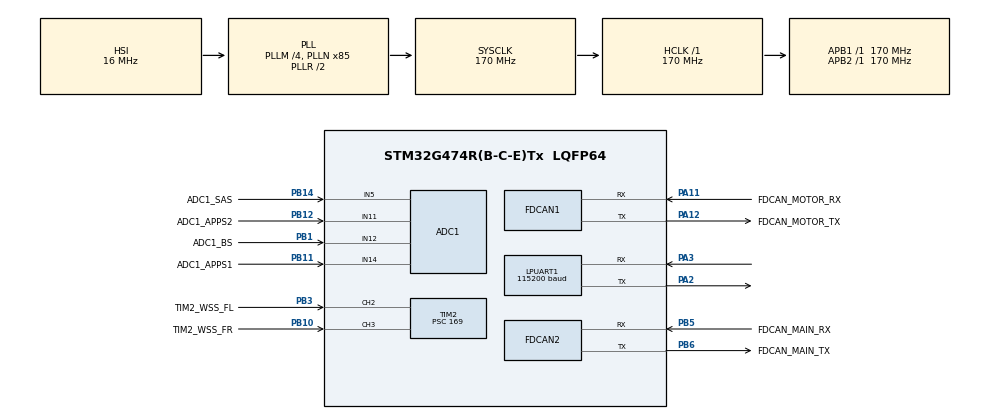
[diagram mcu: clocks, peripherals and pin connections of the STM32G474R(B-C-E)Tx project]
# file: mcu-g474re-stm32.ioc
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ADC1.Channel-0\#ChannelRegularConversion=ADC_CHANNEL_14
ADC1.Channel-1\#ChannelRegularConversion=ADC_CHANNEL_11
ADC1.Channel-2\#ChannelRegularConversion=ADC_CHANNEL_5
ADC1.Channel-3\#ChannelRegularConversion=ADC_CHANNEL_12
ADC1.ContinuousConvMode=ENABLE
ADC1.DMAContinuousRequests=ENABLE
ADC1.NbrOfConversion=4
ADC1.NbrOfConversionFlag=1
ADC1.OffsetNumber-0\#ChannelRegularConversion=ADC_OFFSET_NONE
ADC1.OffsetNumber-1\#ChannelRegularConversion=ADC_OFFSET_NONE
ADC1.OffsetNumber-2\#ChannelRegularConversion=ADC_OFFSET_NONE
ADC1.OffsetNumber-3\#ChannelRegularConversion=ADC_OFFSET_NONE
ADC1.Overrun=ADC_OVR_DATA_OVERWRITTEN
ADC1.Rank-0\#ChannelRegularConversion=1
ADC1.Rank-1\#ChannelRegularConversion=2
ADC1.Rank-2\#ChannelRegularConversion=3
ADC1.Rank-3\#ChannelRegularConversion=4
ADC1.SamplingTime-0\#ChannelRegularConversion=ADC_SAMPLETIME_640CYCLES_5
ADC1.SamplingTime-1\#ChannelRegularConversion=ADC_SAMPLETIME_640CYCLES_5
ADC1.SamplingTime-2\#ChannelRegularConversion=ADC_SAMPLETIME_640CYCLES_5
ADC1.SamplingTime-3\#ChannelRegularConversion=ADC_SAMPLETIME_640CYCLES_5
ADC1.master=1
Dma.ADC1.0.Direction=DMA_PERIPH_TO_MEMORY
Dma.ADC1.0.EventEnable=DISABLE
Dma.ADC1.0.Instance=DMA1_Channel1
Dma.ADC1.0.MemDataAlignment=DMA_MDATAALIGN_HALFWORD
Dma.ADC1.0.MemInc=DMA_MINC_ENABLE
Dma.ADC1.0.Mode=DMA_CIRCULAR
Dma.ADC1.0.PeriphDataAlignment=DMA_PDATAALIGN_HALFWORD
Dma.ADC1.0.PeriphInc=DMA_PINC_DISABLE
Dma.ADC1.0.Polarity=HAL_DMAMUX_REQ_GEN_RISING
Dma.ADC1.0.Priority=DMA_PRIORITY_HIGH
Dma.ADC1.0.RequestNumber=1
Dma.ADC1.0.SignalID=NONE
Dma.ADC1.0.SyncEnable=DISABLE
Dma.ADC1.0.SyncPolarity=HAL_DMAMUX_SYNC_NO_EVENT
Dma.ADC1.0.SyncRequestNumber=1
Dma.ADC1.0.SyncSignalID=NONE
Dma.LPUART1_TX.1.Direction=DMA_MEMORY_TO_PERIPH
Dma.LPUART1_TX.1.EventEnable=DISABLE
Dma.LPUART1_TX.1.Instance=DMA1_Channel2
Dma.LPUART1_TX.1.MemDataAlignment=DMA_MDATAALIGN_BYTE
Dma.LPUART1_TX.1.MemInc=DMA_MINC_ENABLE
Dma.LPUART1_TX.1.Mode=DMA_NORMAL
Dma.LPUART1_TX.1.PeriphDataAlignment=DMA_PDATAALIGN_BYTE
Dma.LPUART1_TX.1.PeriphInc=DMA_PINC_DISABLE
Dma.LPUART1_TX.1.Polarity=HAL_DMAMUX_REQ_GEN_RISING
Dma.LPUART1_TX.1.Priority=DMA_PRIORITY_LOW
Dma.LPUART1_TX.1.RequestNumber=1
Dma.LPUART1_TX.1.SignalID=NONE
Dma.LPUART1_TX.1.SyncEnable=DISABLE
Dma.LPUART1_TX.1.SyncPolarity=HAL_DMAMUX_SYNC_NO_EVENT
Dma.LPUART1_TX.1.SyncRequestNumber=1
Dma.LPUART1_TX.1.SyncSignalID=NONE
Dma.Request0=ADC1
Dma.Request1=LPUART1_TX
Dma.Request2=TIM2_CH2
Dma.Request3=TIM2_CH3
Dma.TIM2_CH2.2.Direction=DMA_PERIPH_TO_MEMORY
Dma.TIM2_CH2.2.EventEnable=DISABLE
Dma.TIM2_CH2.2.Instance=DMA1_Channel3
Dma.TIM2_CH2.2.MemDataAlignment=DMA_MDATAALIGN_WORD
Dma.TIM2_CH2.2.MemInc=DMA_MINC_ENABLE
Dma.TIM2_CH2.2.Mode=DMA_CIRCULAR
Dma.TIM2_CH2.2.PeriphDataAlignment=DMA_PDATAALIGN_WORD
Dma.TIM2_CH2.2.PeriphInc=DMA_PINC_DISABLE
Dma.TIM2_CH2.2.Polarity=HAL_DMAMUX_REQ_GEN_RISING
Dma.TIM2_CH2.2.Priority=DMA_PRIORITY_MEDIUM
Dma.TIM2_CH2.2.RequestNumber=1
Dma.TIM2_CH2.2.SignalID=NONE
Dma.TIM2_CH2.2.SyncEnable=DISABLE
Dma.TIM2_CH2.2.SyncPolarity=HAL_DMAMUX_SYNC_NO_EVENT
Dma.TIM2_CH2.2.SyncRequestNumber=1
Dma.TIM2_CH2.2.SyncSignalID=NONE
Dma.TIM2_CH3.3.Direction=DMA_PERIPH_TO_MEMORY
Dma.TIM2_CH3.3.EventEnable=DISABLE
Dma.TIM2_CH3.3.Instance=DMA1_Channel4
Dma.TIM2_CH3.3.MemDataAlignment=DMA_MDATAALIGN_WORD
Dma.TIM2_CH3.3.MemInc=DMA_MINC_ENABLE
Dma.TIM2_CH3.3.Mode=DMA_CIRCULAR
Dma.TIM2_CH3.3.PeriphDataAlignment=DMA_PDATAALIGN_WORD
Dma.TIM2_CH3.3.PeriphInc=DMA_PINC_DISABLE
Dma.TIM2_CH3.3.Polarity=HAL_DMAMUX_REQ_GEN_RISING
Dma.TIM2_CH3.3.Priority=DMA_PRIORITY_MEDIUM
Dma.TIM2_CH3.3.RequestNumber=1
Dma.TIM2_CH3.3.SignalID=NONE
Dma.TIM2_CH3.3.SyncEnable=DISABLE
Dma.TIM2_CH3.3.SyncPolarity=HAL_DMAMUX_SYNC_NO_EVENT
Dma.TIM2_CH3.3.SyncRequestNumber=1
Dma.TIM2_CH3.3.SyncSignalID=NONE
FDCAN1.AutoRetransmission=ENABLE
FDCAN1.CalculateBaudRateNominal=500000
FDCAN1.CalculateTimeBitNominal=2000
FDCAN1.CalculateTimeQuantumNominal=100.0
FDCAN1.FrameFormat=FDCAN_FRAME_CLASSIC
FDCAN1.Mode=FDCAN_MODE_NORMAL
FDCAN1.NominalPrescaler=17
FDCAN1.NominalTimeSeg1=15
FDCAN1.NominalTimeSeg2=4
FDCAN1.StdFiltersNbr=1
FDCAN2.AutoRetransmission=ENABLE
FDCAN2.CalculateBaudRateNominal=500000
FDCAN2.CalculateTimeBitNominal=2000
FDCAN2.CalculateTimeQuantumNominal=100.0
FDCAN2.NominalPrescaler=17
FDCAN2.NominalTimeSeg1=15
FDCAN2.NominalTimeSeg2=4
FDCAN2.StdFiltersNbr=1
FREERTOS.INCLUDE_uxTaskGetStackHighWaterMark2=1
FREERTOS.Mutexes01=mutex_VehicleData,Dynamic,NULL,Available;mutex_LPUART1,Dynamic,NULL,Available;mutex_FDCAN1_MOTOR,Dynamic,NULL,Available;mutex_FDCAN2_MAIN,Dynamic,NULL,Available
FREERTOS.Tasks01=DataLogger,8,512,StartDataLogger,Default,NULL,Dynamic,NULL,NULL;DataManager,40,512,StartDataManager,Default,NULL,Dynamic,NULL,NULL;DriveLogic,40,1024,StartDriveLogic,Default,NULL,Dynamic,NULL,NULL
FREERTOS.configCHECK_FOR_STACK_OVERFLOW=2
FREERTOS.configENABLE_FPU=1
FREERTOS.configTIMER_TASK_PRIORITY=6
FREERTOS.configTOTAL_HEAP_SIZE=50000
FREERTOS.configUSE_MALLOC_FAILED_HOOK=1
FREERTOS.configUSE_NEWLIB_REENTRANT=1
IWDG.Prescaler=IWDG_PRESCALER_16
IWDG.Reload=2500
LPUART1.BaudRate=115200
Mcu.Family=STM32G4
Mcu.Name=STM32G474R(B-C-E)Tx
Mcu.Package=LQFP64
NVIC.ADC1_2_IRQn=true\:5\:0\:true\:false\:true\:true\:true\:true\:true
NVIC.DMA1_Channel1_IRQn=true\:5\:0\:true\:false\:true\:true\:false\:true\:true
NVIC.DMA1_Channel2_IRQn=true\:5\:0\:false\:false\:true\:true\:false\:true\:true
NVIC.DMA1_Channel3_IRQn=true\:5\:0\:false\:false\:true\:true\:false\:true\:true
NVIC.DMA1_Channel4_IRQn=true\:5\:0\:false\:false\:true\:true\:false\:true\:true
NVIC.FDCAN1_IT0_IRQn=true\:5\:0\:true\:false\:true\:true\:true\:true\:true
NVIC.FDCAN2_IT0_IRQn=true\:5\:0\:true\:false\:true\:true\:true\:true\:true
NVIC.LPUART1_IRQn=true\:5\:0\:false\:false\:true\:true\:true\:true\:true
NVIC.PriorityGroup=NVIC_PRIORITYGROUP_4
NVIC.TIM2_IRQn=true\:5\:0\:true\:false\:true\:true\:true\:true\:true
NVIC.TIM6_DAC_IRQn=true\:15\:0\:false\:false\:true\:false\:false\:true\:true
NVIC.TimeBase=TIM6_DAC_IRQn
NVIC.TimeBaseIP=TIM6
PA11.GPIO_Label=FDCAN_MOTOR_RX
PA11.Mode=FDCAN_Activate
PA11.Signal=FDCAN1_RX
PA12.GPIO_Label=FDCAN_MOTOR_TX
PA12.Mode=FDCAN_Activate
PA12.Signal=FDCAN1_TX
PA13.GPIO_Label=T_SWDIO
PA13.Mode=Serial_Wire
PA13.Signal=SYS_JTMS-SWDIO
PA14.GPIO_Label=T_SWCLK
PA14.Mode=Serial_Wire
PA14.Signal=SYS_JTCK-SWCLK
PA2.Mode=Asynchronous
PA2.Signal=LPUART1_TX
PA3.Mode=Asynchronous
PA3.Signal=LPUART1_RX
PB1.GPIO_Label=ADC1_BS
PB1.Mode=IN12-Single-Ended
PB1.Signal=ADC1_IN12
PB10.GPIO_Label=TIM2_WSS_FR
PB10.Signal=S_TIM2_CH3
PB11.GPIO_Label=ADC1_APPS1
PB11.Mode=IN14-Single-Ended
PB11.Signal=ADC1_IN14
PB12.GPIO_Label=ADC1_APPS2
PB12.Mode=IN11-Single-Ended
PB12.Signal=ADC1_IN11
PB14.GPIO_Label=ADC1_SAS
PB14.Mode=IN5-Single-Ended
PB14.Signal=ADC1_IN5
PB3.GPIO_Label=TIM2_WSS_FL
PB3.Signal=S_TIM2_CH2
PB5.GPIO_Label=FDCAN_MAIN_RX
PB5.Mode=FDCAN_Activate
PB5.Signal=FDCAN2_RX
PB6.GPIO_Label=FDCAN_MAIN_TX
PB6.Mode=FDCAN_Activate
PB6.Signal=FDCAN2_TX
ProjectManager.HeapSize=0x200
ProjectManager.StackSize=0x400
ProjectManager.TargetToolchain=STM32CubeIDE
RCC.ADC12Freq_Value=170000000
RCC.ADC345Freq_Value=170000000
RCC.AHBFreq_Value=170000000
RCC.APB1Freq_Value=170000000
RCC.APB1TimFreq_Value=170000000
RCC.APB2Freq_Value=170000000
RCC.APB2TimFreq_Value=170000000
RCC.CortexFreq_Value=170000000
RCC.EXTERNAL_CLOCK_VALUE=12288000
RCC.HCLKFreq_Value=170000000
RCC.HSE_VALUE=24000000
RCC.HSI48_VALUE=48000000
RCC.HSI_VALUE=16000000
RCC.LSE_VALUE=32768
RCC.PLLM=RCC_PLLM_DIV4
RCC.PLLN=85
RCC.RTCClockSelection=RCC_RTCCLKSOURCE_LSE
RCC.SYSCLKFreq_VALUE=170000000
RCC.SYSCLKSource=RCC_SYSCLKSOURCE_PLLCLK
RCC.USBFreq_Value=170000000
RCC.VCOOutputFreq_Value=340000000
SH.S_TIM2_CH2.0=TIM2_CH2,Input_Capture2_from_TI2
SH.S_TIM2_CH3.0=TIM2_CH3,Input_Capture3_from_TI3
TIM2.AutoReloadPreload=TIM_AUTORELOAD_PRELOAD_ENABLE
TIM2.Channel-Input_Capture2_from_TI2=TIM_CHANNEL_2
TIM2.Channel-Input_Capture3_from_TI3=TIM_CHANNEL_3
TIM2.ICFilter_CH2=8
TIM2.ICFilter_CH3=8
TIM2.Prescaler=169
VP_FREERTOS_VS_CMSIS_V2.Mode=CMSIS_V2
VP_IWDG_VS_IWDG.Mode=IWDG_Activate
VP_SYS_VS_DBSignals.Mode=DisableDeadBatterySignals
VP_SYS_VS_tim6.Mode=TIM6
VP_TIM2_VS_ClockSourceINT.Mode=Internal
board=NUCLEO-G474RE

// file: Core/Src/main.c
/* USER CODE BEGIN Header */
/**
  ******************************************************************************
  * @file           : main.c
  * @brief          : Main program body
  ******************************************************************************
  * @attention
  *
  * Copyright (c) 2026 STMicroelectronics.
  * All rights reserved.
  *
  * This software is licensed under terms that can be found in the LICENSE file
  * in the root directory of this software component.
  * If no LICENSE file comes with this software, it is provided AS-IS.
  *
  ******************************************************************************
  */
/* USER CODE END Header */
#include "main.h"
#include "cmsis_os.h"

/* USER CODE BEGIN Includes */
#include "Connectivity/Can.h"
#include "shared_data.h"
#include "Sensors/adc_manager.h"
/* USER CODE END Includes */

ADC_HandleTypeDef hadc1;
DMA_HandleTypeDef hdma_adc1;

FDCAN_HandleTypeDef hfdcan1;
FDCAN_HandleTypeDef hfdcan2;

IWDG_HandleTypeDef hiwdg;

UART_HandleTypeDef hlpuart1;
DMA_HandleTypeDef hdma_lpuart1_tx;

TIM_HandleTypeDef htim2;
DMA_HandleTypeDef hdma_tim2_ch2;
DMA_HandleTypeDef hdma_tim2_ch3;

/* Definitions for DataLogger */
osThreadId_t DataLoggerHandle;
const osThreadAttr_t DataLogger_attributes = {
  .name = "DataLogger",
  .priority = (osPriority_t) osPriorityLow,
  .stack_size = 512 * 4
};
/* Definitions for DataManager */
osThreadId_t DataManagerHandle;
const osThreadAttr_t DataManager_attributes = {
  .name = "DataManager",
  .priority = (osPriority_t) osPriorityHigh,
  .stack_size = 512 * 4
};
/* Definitions for DriveLogic */
osThreadId_t DriveLogicHandle;
const osThreadAttr_t DriveLogic_attributes = {
  .name = "DriveLogic",
  .priority = (osPriority_t) osPriorityHigh,
  .stack_size = 1024 * 4
};
/* Definitions for mutex_VehicleData */
osMutexId_t mutex_VehicleDataHandle;
const osMutexAttr_t mutex_VehicleData_attributes = {
  .name = "mutex_VehicleData"
};
/* Definitions for mutex_LPUART1 */
osMutexId_t mutex_LPUART1Handle;
const osMutexAttr_t mutex_LPUART1_attributes = {
  .name = "mutex_LPUART1"
};
/* Definitions for mutex_FDCAN1_MOTOR */
osMutexId_t mutex_FDCAN1_MOTORHandle;
const osMutexAttr_t mutex_FDCAN1_MOTOR_attributes = {
  .name = "mutex_FDCAN1_MOTOR"
};
/* Definitions for mutex_FDCAN2_MAIN */
osMutexId_t mutex_FDCAN2_MAINHandle;
const osMutexAttr_t mutex_FDCAN2_MAIN_attributes = {
  .name = "mutex_FDCAN2_MAIN"
};

void SystemClock_Config(void);
static void MX_GPIO_Init(void);
static void MX_DMA_Init(void);
static void MX_ADC1_Init(void);
static void MX_FDCAN1_Init(void);
static void MX_FDCAN2_Init(void);
static void MX_TIM2_Init(void);
static void MX_LPUART1_UART_Init(void);
static void MX_IWDG_Init(void);
void StartDataLogger(void *argument);
void StartDataManager(void *argument);
void StartDriveLogic(void *argument);

/* USER CODE BEGIN PFP */
/* Entry point di ciascun task, definiti in Core/Src/Tasks.c: nessun header
 * dedicato le dichiara, quindi il prototipo va qui (unico chiamante). */
void DataLoggerTask(void);
void DataManagerTask(void);
void DriveLogicTask(void);
/* USER CODE END PFP */

int main(void)
{

  /* MCU Configuration--------------------------------------------------------*/

  /* Reset of all peripherals, Initializes the Flash interface and the Systick. */
  HAL_Init();

  /* Configure the system clock */
  SystemClock_Config();

  /* Initialize all configured peripherals */
  MX_GPIO_Init();
  MX_DMA_Init();
  MX_ADC1_Init();
  MX_FDCAN1_Init();
  MX_FDCAN2_Init();
  MX_TIM2_Init();
  MX_LPUART1_UART_Init();
  MX_IWDG_Init();
  /* USER CODE BEGIN 2 */

  /* Stato condiviso in condizioni note prima che parta qualunque task:
   * azzera g_vehicle_data e imposta fsm_state = VEHICLE_STATE_INIT.
   * (g_vehicle_data e' in BSS quindi gia' a zero al cold boot, ma questo
   *  rende esplicito lo stato di partenza anche dopo un reset software.) */
  VehicleData_Init();

  /* --- IMU Boot Procedure (via CAN BUS) ---------------------------------
   * FDCAN2 avviato in polling (senza notifiche: la coda RX non esiste
   * ancora), poi si interroga e verifica l'IMU Aviorace. Non blocca
   * l'avvio se l'IMU non risponde: l'esito e' in g_imu_boot_status. */
  if (CAN_MAIN_Start(&hfdcan2))
  {
    (void)CAN_MAIN_ImuBoot(&hfdcan2, &hiwdg);
  }

  /* USER CODE END 2 */

  /* Init scheduler */
  osKernelInitialize();
  /* Create the mutex(es) */
  /* creation of mutex_VehicleData */
  mutex_VehicleDataHandle = osMutexNew(&mutex_VehicleData_attributes);

  /* creation of mutex_LPUART1 */
  mutex_LPUART1Handle = osMutexNew(&mutex_LPUART1_attributes);

  /* creation of mutex_FDCAN1_MOTOR */
  mutex_FDCAN1_MOTORHandle = osMutexNew(&mutex_FDCAN1_MOTOR_attributes);

  /* creation of mutex_FDCAN2_MAIN */
  mutex_FDCAN2_MAINHandle = osMutexNew(&mutex_FDCAN2_MAIN_attributes);

  /* USER CODE BEGIN RTOS_QUEUES */
  /* CAN RX queues must be created after osKernelInitialize() and before CAN IRQ notifications. */
  CAN_MOTOR_ProcessQueue_Init();      /* CAN1 RX queue */
  CAN_MAIN_ProcessQueue_Init();  /* CAN2 RX queue */

  if (!CAN_QueuesReady())
  {
    Error_Handler();
  }

  /* USER CODE END RTOS_QUEUES */

  /* Create the thread(s) */
  /* creation of DataLogger */
  DataLoggerHandle = osThreadNew(StartDataLogger, NULL, &DataLogger_attributes);

  /* creation of DataManager */
  DataManagerHandle = osThreadNew(StartDataManager, NULL, &DataManager_attributes);

  /* creation of DriveLogic */
  DriveLogicHandle = osThreadNew(StartDriveLogic, NULL, &DriveLogic_attributes);

  /* Start scheduler */
  osKernelStart();

  /* We should never get here as control is now taken by the scheduler */

  /* Infinite loop */
  while (1)
  {

  }
}

void SystemClock_Config(void)
{
  RCC_OscInitTypeDef RCC_OscInitStruct = {0};
  RCC_ClkInitTypeDef RCC_ClkInitStruct = {0};

  /** Configure the main internal regulator output voltage
  */
  HAL_PWREx_ControlVoltageScaling(PWR_REGULATOR_VOLTAGE_SCALE1_BOOST);

  /** Initializes the RCC Oscillators according to the specified parameters
  * in the RCC_OscInitTypeDef structure.
  */
  RCC_OscInitStruct.OscillatorType = RCC_OSCILLATORTYPE_HSI|RCC_OSCILLATORTYPE_LSI;
  RCC_OscInitStruct.HSIState = RCC_HSI_ON;
  RCC_OscInitStruct.HSICalibrationValue = RCC_HSICALIBRATION_DEFAULT;
  RCC_OscInitStruct.LSIState = RCC_LSI_ON;
  RCC_OscInitStruct.PLL.PLLState = RCC_PLL_ON;
  RCC_OscInitStruct.PLL.PLLSource = RCC_PLLSOURCE_HSI;
  RCC_OscInitStruct.PLL.PLLM = RCC_PLLM_DIV4;
  RCC_OscInitStruct.PLL.PLLN = 85;
  RCC_OscInitStruct.PLL.PLLP = RCC_PLLP_DIV2;
  RCC_OscInitStruct.PLL.PLLQ = RCC_PLLQ_DIV2;
  RCC_OscInitStruct.PLL.PLLR = RCC_PLLR_DIV2;
  if (HAL_RCC_OscConfig(&RCC_OscInitStruct) != HAL_OK)
  {
    Error_Handler();
  }

  /** Initializes the CPU, AHB and APB buses clocks
  */
  RCC_ClkInitStruct.ClockType = RCC_CLOCKTYPE_HCLK|RCC_CLOCKTYPE_SYSCLK
                              |RCC_CLOCKTYPE_PCLK1|RCC_CLOCKTYPE_PCLK2;
  RCC_ClkInitStruct.SYSCLKSource = RCC_SYSCLKSOURCE_PLLCLK;
  RCC_ClkInitStruct.AHBCLKDivider = RCC_SYSCLK_DIV1;
  RCC_ClkInitStruct.APB1CLKDivider = RCC_HCLK_DIV1;
  RCC_ClkInitStruct.APB2CLKDivider = RCC_HCLK_DIV1;

  if (HAL_RCC_ClockConfig(&RCC_ClkInitStruct, FLASH_LATENCY_4) != HAL_OK)
  {
    Error_Handler();
  }
}

static void MX_ADC1_Init(void)
{

  ADC_MultiModeTypeDef multimode = {0};
  ADC_ChannelConfTypeDef sConfig = {0};

  /** Common config
  */
  hadc1.Instance = ADC1;
  hadc1.Init.ClockPrescaler = ADC_CLOCK_SYNC_PCLK_DIV4;
  hadc1.Init.Resolution = ADC_RESOLUTION_12B;
  hadc1.Init.DataAlign = ADC_DATAALIGN_RIGHT;
  hadc1.Init.GainCompensation = 0;
  hadc1.Init.ScanConvMode = ADC_SCAN_ENABLE;
  hadc1.Init.EOCSelection = ADC_EOC_SINGLE_CONV;
  hadc1.Init.LowPowerAutoWait = DISABLE;
  hadc1.Init.ContinuousConvMode = ENABLE;
  hadc1.Init.NbrOfConversion = 4;
  hadc1.Init.DiscontinuousConvMode = DISABLE;
  hadc1.Init.ExternalTrigConv = ADC_SOFTWARE_START;
  hadc1.Init.ExternalTrigConvEdge = ADC_EXTERNALTRIGCONVEDGE_NONE;
  hadc1.Init.DMAContinuousRequests = ENABLE;
  hadc1.Init.Overrun = ADC_OVR_DATA_OVERWRITTEN;
  hadc1.Init.OversamplingMode = DISABLE;
  if (HAL_ADC_Init(&hadc1) != HAL_OK)
  {
    Error_Handler();
  }

  /** Configure the ADC multi-mode
  */
  multimode.Mode = ADC_MODE_INDEPENDENT;
  if (HAL_ADCEx_MultiModeConfigChannel(&hadc1, &multimode) != HAL_OK)
  {
    Error_Handler();
  }

  /** Configure Regular Channel
  */
  sConfig.Channel = ADC_CHANNEL_14;
  sConfig.Rank = ADC_REGULAR_RANK_1;
  sConfig.SamplingTime = ADC_SAMPLETIME_640CYCLES_5;
  sConfig.SingleDiff = ADC_SINGLE_ENDED;
  sConfig.OffsetNumber = ADC_OFFSET_NONE;
  sConfig.Offset = 0;
  if (HAL_ADC_ConfigChannel(&hadc1, &sConfig) != HAL_OK)
  {
    Error_Handler();
  }

  /** Configure Regular Channel
  */
  sConfig.Channel = ADC_CHANNEL_11;
  sConfig.Rank = ADC_REGULAR_RANK_2;
  if (HAL_ADC_ConfigChannel(&hadc1, &sConfig) != HAL_OK)
  {
    Error_Handler();
  }

  /** Configure Regular Channel
  */
  sConfig.Channel = ADC_CHANNEL_5;
  sConfig.Rank = ADC_REGULAR_RANK_3;
  if (HAL_ADC_ConfigChannel(&hadc1, &sConfig) != HAL_OK)
  {
    Error_Handler();
  }

  /** Configure Regular Channel
  */
  sConfig.Channel = ADC_CHANNEL_12;
  sConfig.Rank = ADC_REGULAR_RANK_4;
  if (HAL_ADC_ConfigChannel(&hadc1, &sConfig) != HAL_OK)
  {
    Error_Handler();
  }

}

static void MX_FDCAN1_Init(void)
{

  hfdcan1.Instance = FDCAN1;
  hfdcan1.Init.ClockDivider = FDCAN_CLOCK_DIV1;
  hfdcan1.Init.FrameFormat = FDCAN_FRAME_CLASSIC;
  hfdcan1.Init.Mode = FDCAN_MODE_NORMAL;
  hfdcan1.Init.AutoRetransmission = ENABLE;
  hfdcan1.Init.TransmitPause = DISABLE;
  hfdcan1.Init.ProtocolException = DISABLE;
  hfdcan1.Init.NominalPrescaler = 17;
  hfdcan1.Init.NominalSyncJumpWidth = 1;
  hfdcan1.Init.NominalTimeSeg1 = 15;
  hfdcan1.Init.NominalTimeSeg2 = 4;
  hfdcan1.Init.DataPrescaler = 1;
  hfdcan1.Init.DataSyncJumpWidth = 1;
  hfdcan1.Init.DataTimeSeg1 = 1;
  hfdcan1.Init.DataTimeSeg2 = 1;
  hfdcan1.Init.StdFiltersNbr = 1;
  hfdcan1.Init.ExtFiltersNbr = 0;
  hfdcan1.Init.TxFifoQueueMode = FDCAN_TX_FIFO_OPERATION;
  if (HAL_FDCAN_Init(&hfdcan1) != HAL_OK)
  {
    Error_Handler();
  }

}

static void MX_FDCAN2_Init(void)
{

  hfdcan2.Instance = FDCAN2;
  hfdcan2.Init.ClockDivider = FDCAN_CLOCK_DIV1;
  hfdcan2.Init.FrameFormat = FDCAN_FRAME_CLASSIC;
  hfdcan2.Init.Mode = FDCAN_MODE_NORMAL;
  hfdcan2.Init.AutoRetransmission = ENABLE;
  hfdcan2.Init.TransmitPause = DISABLE;
  hfdcan2.Init.ProtocolException = DISABLE;
  hfdcan2.Init.NominalPrescaler = 17;
  hfdcan2.Init.NominalSyncJumpWidth = 1;
  hfdcan2.Init.NominalTimeSeg1 = 15;
  hfdcan2.Init.NominalTimeSeg2 = 4;
  hfdcan2.Init.DataPrescaler = 1;
  hfdcan2.Init.DataSyncJumpWidth = 1;
  hfdcan2.Init.DataTimeSeg1 = 1;
  hfdcan2.Init.DataTimeSeg2 = 1;
  hfdcan2.Init.StdFiltersNbr = 1;
  hfdcan2.Init.ExtFiltersNbr = 0;
  hfdcan2.Init.TxFifoQueueMode = FDCAN_TX_FIFO_OPERATION;
  if (HAL_FDCAN_Init(&hfdcan2) != HAL_OK)
  {
    Error_Handler();
  }

}

static void MX_IWDG_Init(void)
{

  hiwdg.Instance = IWDG;
  hiwdg.Init.Prescaler = IWDG_PRESCALER_16;
  hiwdg.Init.Window = 4095;
  hiwdg.Init.Reload = 2500;
  if (HAL_IWDG_Init(&hiwdg) != HAL_OK)
  {
    Error_Handler();
  }

}

static void MX_LPUART1_UART_Init(void)
{

  hlpuart1.Instance = LPUART1;
  hlpuart1.Init.BaudRate = 115200;
  hlpuart1.Init.WordLength = UART_WORDLENGTH_8B;
  hlpuart1.Init.StopBits = UART_STOPBITS_1;
  hlpuart1.Init.Parity = UART_PARITY_NONE;
  hlpuart1.Init.Mode = UART_MODE_TX_RX;
  hlpuart1.Init.HwFlowCtl = UART_HWCONTROL_NONE;
  hlpuart1.Init.OneBitSampling = UART_ONE_BIT_SAMPLE_DISABLE;
  hlpuart1.Init.ClockPrescaler = UART_PRESCALER_DIV1;
  hlpuart1.AdvancedInit.AdvFeatureInit = UART_ADVFEATURE_NO_INIT;
  if (HAL_UART_Init(&hlpuart1) != HAL_OK)
  {
    Error_Handler();
  }
  if (HAL_UARTEx_SetTxFifoThreshold(&hlpuart1, UART_TXFIFO_THRESHOLD_1_8) != HAL_OK)
  {
    Error_Handler();
  }
  if (HAL_UARTEx_SetRxFifoThreshold(&hlpuart1, UART_RXFIFO_THRESHOLD_1_8) != HAL_OK)
  {
    Error_Handler();
  }
  if (HAL_UARTEx_DisableFifoMode(&hlpuart1) != HAL_OK)
  {
    Error_Handler();
  }

}

static void MX_TIM2_Init(void)
{

  TIM_ClockConfigTypeDef sClockSourceConfig = {0};
  TIM_MasterConfigTypeDef sMasterConfig = {0};
  TIM_IC_InitTypeDef sConfigIC = {0};

  htim2.Instance = TIM2;
  htim2.Init.Prescaler = 169;
  htim2.Init.CounterMode = TIM_COUNTERMODE_UP;
  htim2.Init.Period = 4294967295;
  htim2.Init.ClockDivision = TIM_CLOCKDIVISION_DIV1;
  htim2.Init.AutoReloadPreload = TIM_AUTORELOAD_PRELOAD_ENABLE;
  if (HAL_TIM_Base_Init(&htim2) != HAL_OK)
  {
    Error_Handler();
  }
  sClockSourceConfig.ClockSource = TIM_CLOCKSOURCE_INTERNAL;
  if (HAL_TIM_ConfigClockSource(&htim2, &sClockSourceConfig) != HAL_OK)
  {
    Error_Handler();
  }
  if (HAL_TIM_IC_Init(&htim2) != HAL_OK)
  {
    Error_Handler();
  }
  sMasterConfig.MasterOutputTrigger = TIM_TRGO_RESET;
  sMasterConfig.MasterSlaveMode = TIM_MASTERSLAVEMODE_DISABLE;
  if (HAL_TIMEx_MasterConfigSynchronization(&htim2, &sMasterConfig) != HAL_OK)
  {
    Error_Handler();
  }
  sConfigIC.ICPolarity = TIM_INPUTCHANNELPOLARITY_RISING;
  sConfigIC.ICSelection = TIM_ICSELECTION_DIRECTTI;
  sConfigIC.ICPrescaler = TIM_ICPSC_DIV1;
  sConfigIC.ICFilter = 8;
  if (HAL_TIM_IC_ConfigChannel(&htim2, &sConfigIC, TIM_CHANNEL_2) != HAL_OK)
  {
    Error_Handler();
  }
  if (HAL_TIM_IC_ConfigChannel(&htim2, &sConfigIC, TIM_CHANNEL_3) != HAL_OK)
  {
    Error_Handler();
  }

}

static void MX_DMA_Init(void)
{

  /* DMA controller clock enable */
  __HAL_RCC_DMAMUX1_CLK_ENABLE();
  __HAL_RCC_DMA1_CLK_ENABLE();

  /* DMA interrupt init */
  /* DMA1_Channel1_IRQn interrupt configuration */
  HAL_NVIC_SetPriority(DMA1_Channel1_IRQn, 5, 0);
  HAL_NVIC_EnableIRQ(DMA1_Channel1_IRQn);
  /* DMA1_Channel2_IRQn interrupt configuration */
  HAL_NVIC_SetPriority(DMA1_Channel2_IRQn, 5, 0);
  HAL_NVIC_EnableIRQ(DMA1_Channel2_IRQn);
  /* DMA1_Channel3_IRQn interrupt configuration */
  HAL_NVIC_SetPriority(DMA1_Channel3_IRQn, 5, 0);
  HAL_NVIC_EnableIRQ(DMA1_Channel3_IRQn);
  /* DMA1_Channel4_IRQn interrupt configuration */
  HAL_NVIC_SetPriority(DMA1_Channel4_IRQn, 5, 0);
  HAL_NVIC_EnableIRQ(DMA1_Channel4_IRQn);

}

static void MX_GPIO_Init(void)
{

  /* GPIO Ports Clock Enable */
  __HAL_RCC_GPIOA_CLK_ENABLE();
  __HAL_RCC_GPIOB_CLK_ENABLE();

}

/* USER CODE BEGIN 4 */
/**
 * @brief FDCAN Interrupt - Message reception (entrambi i bus usano la propria FIFO0)
 * @param hfdcan FDCAN handle that generated interrupt
 * @param RxFifo0ITs Interrupt flags
 * @return void
 */
void HAL_FDCAN_RxFifo0Callback(FDCAN_HandleTypeDef *hfdcan, uint32_t RxFifo0ITs){
    (void)RxFifo0ITs;
    // CAN1 (FDCAN1) - Motor inverters
    if (hfdcan->Instance == FDCAN1) {
        CAN_MOTOR_ProcessRxMessages(hfdcan);
    }
    // CAN2 (FDCAN2) - Car data (IMU, BMS, Dashboard)
    if (hfdcan->Instance == FDCAN2) {
        CAN_MAIN_ProcessRxMessages(hfdcan);
    }
}

void HAL_ADC_ConvCpltCallback(ADC_HandleTypeDef *hadc){
    ADC_Manager_ConversionComplete(hadc);
}

void HAL_UART_TxCpltCallback(UART_HandleTypeDef *huart)
{
    if (huart == &hlpuart1)
    {
        extern volatile uint8_t lpuart1_tx_busy;
        lpuart1_tx_busy = 0;
    }

}

void HAL_UART_ErrorCallback(UART_HandleTypeDef *huart)
{
    if (huart == &hlpuart1)
    {
        extern volatile uint8_t lpuart1_tx_busy;
        lpuart1_tx_busy = 0;
    }
}

/* USER CODE END 4 */

void StartDataLogger(void *argument)
{
  /* USER CODE BEGIN 5 */
  DataLoggerTask();
  /* USER CODE END 5 */
}

void StartDataManager(void *argument)
{
  /* USER CODE BEGIN StartDataManager */
  static uint8_t s_can_started = 0U;

  if (s_can_started == 0U)
  {
    CAN_MOTOR_Init(&hfdcan1);
    CAN_MAIN_Init(&hfdcan2);
    s_can_started = 1U;
  }

  DataManagerTask();
  /* USER CODE END StartDataManager */
}

void StartDriveLogic(void *argument)
{
  /* USER CODE BEGIN StartDriveLogic */
  DriveLogicTask();
  /* USER CODE END StartDriveLogic */
}

void HAL_TIM_PeriodElapsedCallback(TIM_HandleTypeDef *htim)
{
  if (htim->Instance == TIM6)
  {
    HAL_IncTick();
  }
}

void Error_Handler(void)
{
  __disable_irq();
  while (1)
  {
  }
}

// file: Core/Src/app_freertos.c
/* USER CODE BEGIN Header */
/**
  ******************************************************************************
  * File Name          : app_freertos.c
  * Description        : Code for freertos applications
  ******************************************************************************
  * @attention
  *
  * Copyright (c) 2026 STMicroelectronics.
  * All rights reserved.
  *
  * This software is licensed under terms that can be found in the LICENSE file
  * in the root directory of this software component.
  * If no LICENSE file comes with this software, it is provided AS-IS.
  *
  ******************************************************************************
  */
/* USER CODE END Header */

#include "FreeRTOS.h"
#include "task.h"
#include "main.h"

/* Hook prototypes */
void vApplicationStackOverflowHook(xTaskHandle xTask, signed char *pcTaskName);
void vApplicationMallocFailedHook(void);

/* USER CODE BEGIN 4 */
void vApplicationStackOverflowHook(xTaskHandle xTask, signed char *pcTaskName)
{
   /* Run time stack overflow checking is performed if
   configCHECK_FOR_STACK_OVERFLOW is defined to 1 or 2. This hook function is
   called if a stack overflow is detected. */
}
/* USER CODE END 4 */

/* USER CODE BEGIN 5 */
void vApplicationMallocFailedHook(void)
{
   /* vApplicationMallocFailedHook() will only be called if
   configUSE_MALLOC_FAILED_HOOK is set to 1 in FreeRTOSConfig.h. It is a hook
   function that will get called if a call to pvPortMalloc() fails.
   pvPortMalloc() is called internally by the kernel whenever a task, queue,
   timer or semaphore is created. It is also called by various parts of the
   demo application. If heap_1.c or heap_2.c are used, then the size of the
   heap available to pvPortMalloc() is defined by configTOTAL_HEAP_SIZE in
   FreeRTOSConfig.h, and the xPortGetFreeHeapSize() API function can be used
   to query the size of free heap space that remains (although it does not
   provide information on how the remaining heap might be fragmented). */
}
/* USER CODE END 5 */
